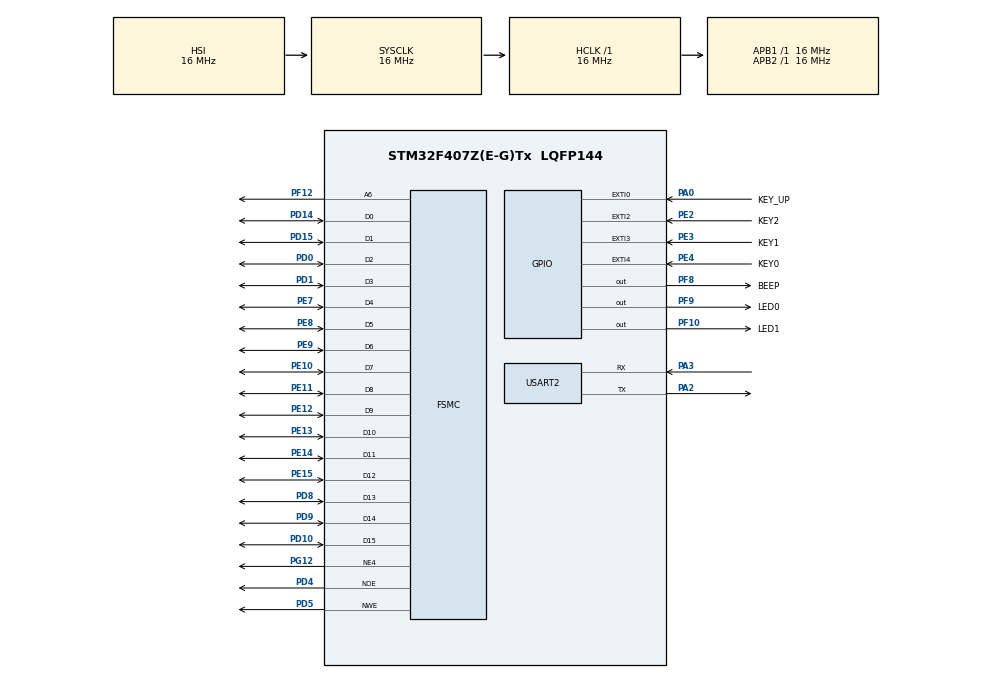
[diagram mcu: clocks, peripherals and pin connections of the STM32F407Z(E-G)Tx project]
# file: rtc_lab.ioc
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FSMC.AddressSetupTime1=1
FSMC.BusTurnAroundDuration1=1
FSMC.DataSetupTime1=1
Mcu.Family=STM32F4
Mcu.Name=STM32F407Z(E-G)Tx
Mcu.Package=LQFP144
NVIC.EXTI0_IRQn=true\:0\:0\:false\:false\:true\:true\:true\:true
NVIC.EXTI2_IRQn=true\:0\:0\:false\:false\:true\:true\:true\:true
NVIC.EXTI3_IRQn=true\:0\:0\:false\:false\:true\:true\:true\:true
NVIC.EXTI4_IRQn=true\:0\:0\:false\:false\:true\:true\:true\:true
NVIC.PriorityGroup=NVIC_PRIORITYGROUP_4
NVIC.RTC_Alarm_IRQn=true\:0\:0\:false\:false\:true\:true\:true\:true
NVIC.TIM1_BRK_TIM9_IRQn=true\:0\:0\:false\:false\:true\:true\:true\:true
NVIC.TIM1_UP_TIM10_IRQn=true\:0\:0\:false\:false\:true\:true\:true\:true
NVIC.TIM2_IRQn=true\:0\:0\:false\:false\:true\:true\:true\:true
PA0-WKUP.GPIO_Label=KEY_UP
PA0-WKUP.GPIO_ModeDefaultEXTI=GPIO_MODE_IT_RISING_FALLING
PA0-WKUP.GPIO_PuPd=GPIO_PULLDOWN
PA0-WKUP.Signal=GPXTI0
PA2.Mode=Asynchronous
PA2.Signal=USART2_TX
PA3.Mode=Asynchronous
PA3.Signal=USART2_RX
PD0.Signal=FSMC_D2_DA2
PD1.Signal=FSMC_D3_DA3
PD10.Signal=FSMC_D15_DA15
PD14.Signal=FSMC_D0_DA0
PD15.Signal=FSMC_D1_DA1
PD4.Signal=FSMC_NOE
PD5.Signal=FSMC_NWE
PD8.Signal=FSMC_D13_DA13
PD9.Signal=FSMC_D14_DA14
PE10.Signal=FSMC_D7_DA7
PE11.Signal=FSMC_D8_DA8
PE12.Signal=FSMC_D9_DA9
PE13.Signal=FSMC_D10_DA10
PE14.Signal=FSMC_D11_DA11
PE15.Signal=FSMC_D12_DA12
PE2.GPIO_Label=KEY2
PE2.GPIO_ModeDefaultEXTI=GPIO_MODE_IT_RISING_FALLING
PE2.GPIO_PuPd=GPIO_PULLUP
PE2.Signal=GPXTI2
PE3.GPIO_Label=KEY1
PE3.GPIO_ModeDefaultEXTI=GPIO_MODE_IT_RISING_FALLING
PE3.GPIO_PuPd=GPIO_PULLUP
PE3.Signal=GPXTI3
PE4.GPIO_Label=KEY0
PE4.GPIO_ModeDefaultEXTI=GPIO_MODE_IT_RISING_FALLING
PE4.GPIO_PuPd=GPIO_PULLUP
PE4.Signal=GPXTI4
PE7.Signal=FSMC_D4_DA4
PE8.Signal=FSMC_D5_DA5
PE9.Signal=FSMC_D6_DA6
PF10.GPIO_Label=LED1
PF10.Signal=GPIO_Output
PF12.Signal=FSMC_A6
PF8.GPIO_Label=BEEP
PF8.Signal=GPIO_Output
PF9.GPIO_Label=LED0
PF9.Signal=GPIO_Output
PG12.Mode=NorPsramChipSelect4_1
PG12.Signal=FSMC_NE4
ProjectManager.HeapSize=0x200
ProjectManager.StackSize=0x400
ProjectManager.TargetToolchain=STM32CubeIDE
RCC.AHBFreq_Value=16000000
RCC.APB1Freq_Value=16000000
RCC.APB2Freq_Value=16000000
RCC.CortexFreq_Value=16000000
RCC.HSE_VALUE=25000000
RCC.HSI_VALUE=16000000
RCC.LSE_VALUE=32768
RCC.SYSCLKFreq_VALUE=16000000
RCC.VCOOutputFreq_Value=192000000
RTC.Alarm=RTC_ALARM_A
RTC.AlarmDateWeekDay=18
RTC.AlarmDateWeekDaySel=RTC_ALARMDATEWEEKDAYSEL_DATE
RTC.AlarmMaskDateWeekDay=RTC_ALARMMASK_DATEWEEKDAY
RTC.AlarmMaskHours=RTC_ALARMMASK_HOURS
RTC.AlarmMaskMinutes=RTC_ALARMMASK_MINUTES
RTC.AlarmMaskSeconds=RTC_ALARMMASK_SECONDS
RTC.Alarm_B=RTC_ALARM_B
RTC.Date=18
RTC.Format=RTC_FORMAT_BIN
RTC.Hours_A=0
RTC.Minutes_A=0
RTC.Month=RTC_MONTH_JUNE
RTC.Seconds_A=0
RTC.SubSeconds_A=0
RTC.WeekDay=RTC_WEEKDAY_TUESDAY
RTC.Year=24
SH.FSMC_A6.0=FSMC_A6,A6_1
SH.FSMC_D0_DA0.0=FSMC_D0,16b-d1
SH.FSMC_D10_DA10.0=FSMC_D10,16b-d1
SH.FSMC_D11_DA11.0=FSMC_D11,16b-d1
SH.FSMC_D12_DA12.0=FSMC_D12,16b-d1
SH.FSMC_D13_DA13.0=FSMC_D13,16b-d1
SH.FSMC_D14_DA14.0=FSMC_D14,16b-d1
SH.FSMC_D15_DA15.0=FSMC_D15,16b-d1
SH.FSMC_D1_DA1.0=FSMC_D1,16b-d1
SH.FSMC_D2_DA2.0=FSMC_D2,16b-d1
SH.FSMC_D3_DA3.0=FSMC_D3,16b-d1
SH.FSMC_D4_DA4.0=FSMC_D4,16b-d1
SH.FSMC_D5_DA5.0=FSMC_D5,16b-d1
SH.FSMC_D6_DA6.0=FSMC_D6,16b-d1
SH.FSMC_D7_DA7.0=FSMC_D7,16b-d1
SH.FSMC_D8_DA8.0=FSMC_D8,16b-d1
SH.FSMC_D9_DA9.0=FSMC_D9,16b-d1
SH.FSMC_NOE.0=FSMC_NOE,Lcd1
SH.FSMC_NWE.0=FSMC_NWE,Lcd1
TIM1.Period=400
TIM1.Prescaler=400
TIM2.Period=4000
TIM2.Prescaler=8000
USART2.VirtualMode=VM_ASYNC
VP_RTC_VS_RTC_Activate.Mode=RTC_Enabled
VP_RTC_VS_RTC_Alarm_A_Intern.Mode=Alarm A
VP_RTC_VS_RTC_Alarm_B_Intern.Mode=Alarm B
VP_RTC_VS_RTC_Calendar.Mode=RTC_Calendar
VP_TIM1_VS_ClockSourceINT.Mode=Internal
VP_TIM2_VS_ClockSourceINT.Mode=Internal
board=custom

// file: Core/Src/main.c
/* USER CODE BEGIN Header */
/**
  ******************************************************************************
  * @file           : main.c
  * @brief          : Main program body
  ******************************************************************************
  * @attention
  *
  * Copyright (c) 2024 STMicroelectronics.
  * All rights reserved.
  *
  * This software is licensed under terms that can be found in the LICENSE file
  * in the root directory of this software component.
  * If no LICENSE file comes with this software, it is provided AS-IS.
  *
  ******************************************************************************
  */
/* USER CODE END Header */
#include "main.h"
#include "rtc.h"
#include "tim.h"
#include "usart.h"
#include "gpio.h"
#include "fsmc.h"

/* USER CODE BEGIN Includes */
#include "tftlcd.h"
#include "stdio.h"
/* USER CODE END Includes */

/* USER CODE BEGIN PV */
RTC_TimeTypeDef sTime = {0};
RTC_AlarmTypeDef sAlarm = {0};
RTC_DateTypeDef sDate = {0};

int hours,minutes,seconds;

char temp_str[64];

int year,month,weekDay,date;

int alarmHours = 0,alarmMinutes = 0,alarmSeconds = 0;

typedef enum
{
	NORMAL = 0,
	SET_ALARM_HOUR,
	SET_ALARM_MIN,
	SET_ALARM_SEC,
	SET_TIME_HOUR,
	SET_TIME_MIN,
	SET_TIME_SEC,
	SET_TIME_YEAR,
	SET_TIME_MONTH,
	SET_TIME_DAY,
	SET_TIME_WEEKDAY,
	ALARM // ����ģʽ
}	MODE;

MODE mode = NORMAL;
/* USER CODE END PV */

void SystemClock_Config(void);

/* USER CODE BEGIN 0 */

struct MyAlarm_s
{
	int trigger_flag; //�Ƿ���������
	int hours;
	int minutes;
	int seconds;
} myAlarm;

int fputc(int ch, FILE *f)
{
	uint8_t temp[1] = {ch};
	HAL_UART_Transmit(
        &huart2 // �Զ��崮�ں�
    , temp, 1, 2);
	return ch;
}

void display(int my_hours,int my_minutes,int my_seconds,int my_year,int my_month,int my_date,int my_weekDay);
void display1(int my_hours,int my_minutes,int my_seconds);
void display2(void); // ��ʾ����
void display_current_time(void);

void display2(void)
{
	sprintf(temp_str,"Alarm Set:%02d:%02d:%02d",myAlarm.hours,myAlarm.minutes,myAlarm.seconds);
	TFT_ShowLine(10,148,24,temp_str);
}

// A���� ������
void setAlarmToA(int seconds)
{
  sAlarm.AlarmTime.Hours = 0;
  sAlarm.AlarmTime.Minutes = 0;
  sAlarm.AlarmTime.Seconds = seconds;
  sAlarm.AlarmTime.SubSeconds = 23;
  sAlarm.AlarmTime.DayLightSaving = RTC_DAYLIGHTSAVING_NONE;
  sAlarm.AlarmMask = RTC_ALARMMASK_DATEWEEKDAY|RTC_ALARMMASK_HOURS
                              |RTC_ALARMMASK_MINUTES;
  sAlarm.AlarmSubSecondMask = RTC_ALARMSUBSECONDMASK_ALL;
  sAlarm.AlarmDateWeekDaySel = RTC_ALARMDATEWEEKDAYSEL_DATE;
  sAlarm.AlarmDateWeekDay = 1;  // ����ν
  sAlarm.Alarm = RTC_ALARM_A;
	HAL_RTC_SetAlarm_IT(&hrtc, &sAlarm, RTC_FORMAT_BIN);
}

// B���� ʱ��������
void setAlarmToB(int hours,int minutes,int seconds)
{
  sAlarm.AlarmTime.Hours = hours;
  sAlarm.AlarmTime.Minutes = minutes;
  sAlarm.AlarmTime.Seconds = seconds;
  sAlarm.AlarmTime.SubSeconds = 23;
  sAlarm.AlarmTime.DayLightSaving = RTC_DAYLIGHTSAVING_NONE;
  sAlarm.AlarmTime.StoreOperation = RTC_STOREOPERATION_RESET;
  sAlarm.AlarmMask = RTC_ALARMMASK_DATEWEEKDAY;
  sAlarm.AlarmSubSecondMask = RTC_ALARMSUBSECONDMASK_ALL;
  sAlarm.AlarmDateWeekDaySel = RTC_ALARMDATEWEEKDAYSEL_DATE;
  sAlarm.AlarmDateWeekDay = 1; // ����ν
  sAlarm.Alarm = RTC_ALARM_B;
	HAL_RTC_SetAlarm_IT(&hrtc, &sAlarm, RTC_FORMAT_BIN);
}

int keyState = 0;
int pressedKey;

void HAL_GPIO_EXTI_Callback(uint16_t GPIO_Pin)
{
	HAL_TIM_Base_Start_IT(&htim1);
}

void onKeyUP()
{
	// �л�ģʽ
	printf("onKeyUP\r\n");

	if(mode == SET_TIME_WEEKDAY)
	{
		mode = SET_ALARM_HOUR;
	} else {
		mode ++;
	}

	TFT_Clear(0x00);

	switch(mode)
	{
		case NORMAL:
			TFT_ShowLine(10,70,24,"NORMAL");
			break;
		case SET_TIME_HOUR:
			TFT_ShowLine(10,70,24,"SET_TIME_HOUR");
			break;
		case SET_TIME_MIN:
			TFT_ShowLine(10,70,24,"SET_TIME_MIN");
			break;
		case SET_TIME_SEC:
			TFT_ShowLine(10,70,24,"SET_TIME_SEC");
			break;
		case SET_TIME_YEAR:
			TFT_ShowLine(10,70,24,"SET_TIME_YEAR");
			break;
		case SET_TIME_MONTH:
			TFT_ShowLine(10,70,24,"SET_TIME_MONTH");
			break;
		case SET_TIME_DAY:
			TFT_ShowLine(10,70,24,"SET_TIME_DAY");
			break;
		case SET_TIME_WEEKDAY:
			TFT_ShowLine(10,70,24,"SET_TIME_WEEKDAY");
			break;
		case SET_ALARM_HOUR:
			TFT_ShowLine(10,70,24,"SET_ALARM_HOUR");
			display1(alarmHours,alarmMinutes,alarmSeconds);
			break;
		case SET_ALARM_MIN:
			TFT_ShowLine(10,70,24,"SET_ALARM_MIN");
			display1(alarmHours,alarmMinutes,alarmSeconds);
			break;
		case SET_ALARM_SEC:
			TFT_ShowLine(10,70,24,"SET_ALARM_SEC");
			display1(alarmHours,alarmMinutes,alarmSeconds);
			break;
	}
	display(hours,minutes,seconds,year,month,date,weekDay);

	printf("mode:%d\r\n",mode);
}

void getTime(void);

void onKey0()
{
	// OK
	switch(mode)
	{
		case SET_ALARM_HOUR:
		case SET_ALARM_MIN:
		case SET_ALARM_SEC:
			// �������ӵ�
			setAlarmToB(alarmHours,alarmMinutes,alarmSeconds);

			myAlarm.hours = alarmHours;
			myAlarm.minutes = alarmMinutes;
			myAlarm.seconds = alarmSeconds;
			myAlarm.trigger_flag = 1;
			break;
		case SET_TIME_HOUR:
		case SET_TIME_MIN:
		case SET_TIME_SEC:
		case SET_TIME_YEAR:
		case SET_TIME_MONTH:
		case SET_TIME_DAY:
		case SET_TIME_WEEKDAY:
			// ����ʱ�����ڵ�
			sDate.Date = date;
			sDate.Month = month;
			sDate.WeekDay = weekDay;
			sDate.Year = year;

			sTime.Hours = hours;
			sTime.Minutes = minutes;
			sTime.Seconds = seconds;

			HAL_RTC_SetTime(&hrtc,&sTime,RTC_FORMAT_BIN);
			HAL_RTC_SetDate(&hrtc,&sDate,RTC_FORMAT_BIN);
			break;
		case ALARM:
			// ����ȷ�Ϲر�
			myAlarm.trigger_flag = 0; // �ر�����
			break;
	}
	mode = NORMAL; // ̫����
	TFT_Clear(0x00);
	getTime();
	setAlarmToA(seconds + 1);
}

void onKey1()
{
	// -
	switch(mode)
	{
		case SET_TIME_HOUR:
			if(hours == 0)
			{
				hours = 23;
			} else {
				hours--;
			}
			display(hours,minutes,seconds,year,month,date,weekDay);
			break;
		case SET_TIME_MIN:
			if(minutes == 0)
			{
				minutes = 59;
			} else {
				minutes--;
			}
			display(hours,minutes,seconds,year,month,date,weekDay);
			break;
		case SET_TIME_SEC:
			if(seconds == 0)
			{
				seconds = 59;
			} else {
				seconds--;
			}
			display(hours,minutes,seconds,year,month,date,weekDay);
			break;
		case SET_TIME_YEAR:
			if(year == 0)
			{
				year = 99;
			} else {
				year--;
			}
			display(hours,minutes,seconds,year,month,date,weekDay);
			break;
		case SET_TIME_MONTH:
			if(month == 1)
			{
				month = 12;
			} else {
				month--;
			}
			display(hours,minutes,seconds,year,month,date,weekDay);
			break;
		case SET_TIME_DAY:
			if(date == 1)
			{
				date = 31;
			} else {
				date--;
			}
			display(hours,minutes,seconds,year,month,date,weekDay);
			break;
		case SET_TIME_WEEKDAY:
			if(weekDay == 1)
			{
				weekDay = 7;
			} else {
				weekDay--;
			}
			display(hours,minutes,seconds,year,month,date,weekDay);
			break;
		case SET_ALARM_HOUR:
			if(alarmHours == 0)
			{
				alarmHours = 23;
			} else {
				alarmHours--;
			}
			display1(alarmHours,alarmMinutes,alarmSeconds);
			break;
		case SET_ALARM_MIN:
			if(alarmMinutes == 0)
			{
				alarmMinutes = 59;
			} else {
				alarmMinutes--;
			}
			display1(alarmHours,alarmMinutes,alarmSeconds);
			break;
		case SET_ALARM_SEC:
			if(alarmSeconds == 0)
			{
				alarmSeconds = 59;
			} else {
				alarmSeconds--;
			}
			display1(alarmHours,alarmMinutes,alarmSeconds);
			break;
	}
}

void onKey2()
{
	// +
	switch(mode)
	{
		case SET_TIME_HOUR:
			if(hours == 23)
			{
				hours = 0;
			} else {
				hours++;
			}
			display(hours,minutes,seconds,year,month,date,weekDay);
			break;
		case SET_TIME_MIN:
			if(minutes == 59)
			{
				minutes = 0;
			} else {
				minutes++;
			}
			display(hours,minutes,seconds,year,month,date,weekDay);
			break;
		case SET_TIME_SEC:
			if(seconds == 59)
			{
				seconds = 0;
			} else {
				seconds++;
			}
			display(hours,minutes,seconds,year,month,date,weekDay);
			break;
		case SET_TIME_YEAR:
			if(year == 99)
			{
				year = 0;
			} else {
				year++;
			}
			display(hours,minutes,seconds,year,month,date,weekDay);
			break;
		case SET_TIME_MONTH:
			if(month == 12)
			{
				month = 1;
			} else {
				month++;
			}
			display(hours,minutes,seconds,year,month,date,weekDay);
			break;
		case SET_TIME_DAY:
			if(date == 31)
			{
				date = 1;
			} else {
				date++;
			}
			display(hours,minutes,seconds,year,month,date,weekDay);
			break;
		case SET_TIME_WEEKDAY:
			if(weekDay == 7)
			{
				weekDay = 1;
			} else {
				weekDay++;
			}
			display(hours,minutes,seconds,year,month,date,weekDay);
			break;
		case SET_ALARM_HOUR:
			if(alarmHours == 23)
			{
				alarmHours = 0;
			} else {
				alarmHours++;
			}
			display1(alarmHours,alarmMinutes,alarmSeconds);
			break;
		case SET_ALARM_MIN:
			if(alarmMinutes == 59)
			{
				alarmMinutes = 1;
			} else {
				alarmMinutes++;
			}
			display1(alarmHours,alarmMinutes,alarmSeconds);
			break;
		case SET_ALARM_SEC:
			if(alarmSeconds == 59)
			{
				alarmSeconds = 0;
			} else {
				alarmSeconds++;
			}
			display1(alarmHours,alarmMinutes,alarmSeconds);
			break;
	}
}

void HAL_TIM_PeriodElapsedCallback(TIM_HandleTypeDef *htim)
{
	if(htim == &htim1)
	{
	switch(keyState)
	{
		case 0:
			// δ����
			if(!HAL_GPIO_ReadPin(KEY0_GPIO_Port,KEY0_Pin))
			{
				pressedKey = 0;
				keyState = 1;
				onKey0();
			} else if(!HAL_GPIO_ReadPin(KEY1_GPIO_Port,KEY1_Pin))
			{
				pressedKey = 1;
				keyState = 1;
				onKey1();
			} else if(!HAL_GPIO_ReadPin(KEY2_GPIO_Port,KEY2_Pin))
			{
				pressedKey = 2;
				keyState = 1;
				onKey2();

			} else if (HAL_GPIO_ReadPin(KEY_UP_GPIO_Port,KEY_UP_Pin))
			{
				pressedKey = -1;
				keyState = 1;
				onKeyUP();
			}
			break;
		case 1:
			// ����

		switch(pressedKey)
		{
			case 0:
				if(HAL_GPIO_ReadPin(KEY0_GPIO_Port,KEY0_Pin))
				{
					keyState = 0;
				}
				break;
			case 1:
				if(HAL_GPIO_ReadPin(KEY1_GPIO_Port,KEY1_Pin))
				{
					keyState = 0;
				}
				break;
			case 2:
				if(HAL_GPIO_ReadPin(KEY2_GPIO_Port,KEY2_Pin))
				{
					keyState = 0;
				}
				break;
			case -1:
				if (!HAL_GPIO_ReadPin(KEY_UP_GPIO_Port,KEY_UP_Pin))
				{
					keyState = 0;
				}
				break;
		}
		break;
	}
}
	else if (htim == &htim2)
	{
		// ������
		if(mode == ALARM)
		{
			HAL_GPIO_TogglePin(BEEP_GPIO_Port,BEEP_Pin);
		} else {
			HAL_GPIO_WritePin(BEEP_GPIO_Port,BEEP_Pin,0);
			HAL_TIM_Base_Stop_IT(&htim2);
		}
	}
}
void getTime(void)
{
	HAL_RTC_GetTime(&hrtc,&sTime,RTC_FORMAT_BIN);
	HAL_RTC_GetDate(&hrtc,&sDate,RTC_FORMAT_BIN);

	year = sDate.Year;
	month = sDate.Month;
	weekDay = sDate.WeekDay;
	date = sDate.Date;

	hours = sTime.Hours;
	minutes = sTime.Minutes;
	seconds = sTime.Seconds;
}

void display(int my_hours,int my_minutes,int my_seconds,int my_year,int my_month,int my_date,int my_weekDay)
{
	sprintf(temp_str,"%02d:%02d:%02d",my_hours,my_minutes,my_seconds);
	TFT_ShowLine(10,10,24,temp_str);
	sprintf(temp_str,"20%02d-%02d-%02d weekDay:%d",my_year,my_month,my_date,my_weekDay);
	TFT_ShowLine(10,34,24,temp_str);
}

void display_current_time(void)
{
	getTime();
	display(hours,minutes,seconds,year,month,date,weekDay);
}

void HAL_RTC_AlarmAEventCallback(RTC_HandleTypeDef *nhrtc)
{
	switch(mode)
	{
		case NORMAL:
		case ALARM:
		case SET_ALARM_HOUR:
		case SET_ALARM_MIN:
		case SET_ALARM_SEC:

		if(myAlarm.trigger_flag)
		{
			display2();
		}
		display_current_time();

		break;
	}
	setAlarmToA(seconds == 59 ? 0 :seconds+ 1  );
}

void HAL_RTCEx_AlarmBEventCallback(RTC_HandleTypeDef *nhrtc)
{
	printf("B alarm!\r\n");
	mode = ALARM;
	HAL_TIM_Base_Start_IT(&htim2);
}

void display1(int my_hours,int my_minutes,int my_seconds)
{
	sprintf(temp_str,"%02d:%02d:%02d",my_hours,my_minutes,my_seconds);
	TFT_ShowLine(10,124,24,temp_str);
}

/* USER CODE END 0 */

int main(void)
{

  /* MCU Configuration--------------------------------------------------------*/

  /* Reset of all peripherals, Initializes the Flash interface and the Systick. */
  HAL_Init();

  /* Configure the system clock */
  SystemClock_Config();

  /* Initialize all configured peripherals */
  MX_GPIO_Init();
  MX_RTC_Init();
  MX_FSMC_Init();
  MX_USART2_UART_Init();
  MX_TIM1_Init();
  MX_TIM2_Init();

  /* Infinite loop */
  /* USER CODE BEGIN WHILE */

	myAlarm.trigger_flag = 0;

#if 1
	HAL_RTC_Init(&hrtc);
	TFT_Init();
	TFT_Clear(0x0000);

	getTime();
	setAlarmToA(seconds + 1);
#endif

	while(1)
	{

	}
    /* USER CODE END WHILE */

}

void SystemClock_Config(void)
{
  RCC_OscInitTypeDef RCC_OscInitStruct = {0};
  RCC_ClkInitTypeDef RCC_ClkInitStruct = {0};

  /** Configure the main internal regulator output voltage
  */
  __HAL_RCC_PWR_CLK_ENABLE();
  __HAL_PWR_VOLTAGESCALING_CONFIG(PWR_REGULATOR_VOLTAGE_SCALE1);

  /** Initializes the RCC Oscillators according to the specified parameters
  * in the RCC_OscInitTypeDef structure.
  */
  RCC_OscInitStruct.OscillatorType = RCC_OSCILLATORTYPE_HSI|RCC_OSCILLATORTYPE_LSI;
  RCC_OscInitStruct.HSIState = RCC_HSI_ON;
  RCC_OscInitStruct.HSICalibrationValue = RCC_HSICALIBRATION_DEFAULT;
  RCC_OscInitStruct.LSIState = RCC_LSI_ON;
  RCC_OscInitStruct.PLL.PLLState = RCC_PLL_NONE;
  if (HAL_RCC_OscConfig(&RCC_OscInitStruct) != HAL_OK)
  {
    Error_Handler();
  }

  /** Initializes the CPU, AHB and APB buses clocks
  */
  RCC_ClkInitStruct.ClockType = RCC_CLOCKTYPE_HCLK|RCC_CLOCKTYPE_SYSCLK
                              |RCC_CLOCKTYPE_PCLK1|RCC_CLOCKTYPE_PCLK2;
  RCC_ClkInitStruct.SYSCLKSource = RCC_SYSCLKSOURCE_HSI;
  RCC_ClkInitStruct.AHBCLKDivider = RCC_SYSCLK_DIV1;
  RCC_ClkInitStruct.APB1CLKDivider = RCC_HCLK_DIV1;
  RCC_ClkInitStruct.APB2CLKDivider = RCC_HCLK_DIV1;

  if (HAL_RCC_ClockConfig(&RCC_ClkInitStruct, FLASH_LATENCY_0) != HAL_OK)
  {
    Error_Handler();
  }
}

void Error_Handler(void)
{
  __disable_irq();
  while (1)
  {
  }
}
